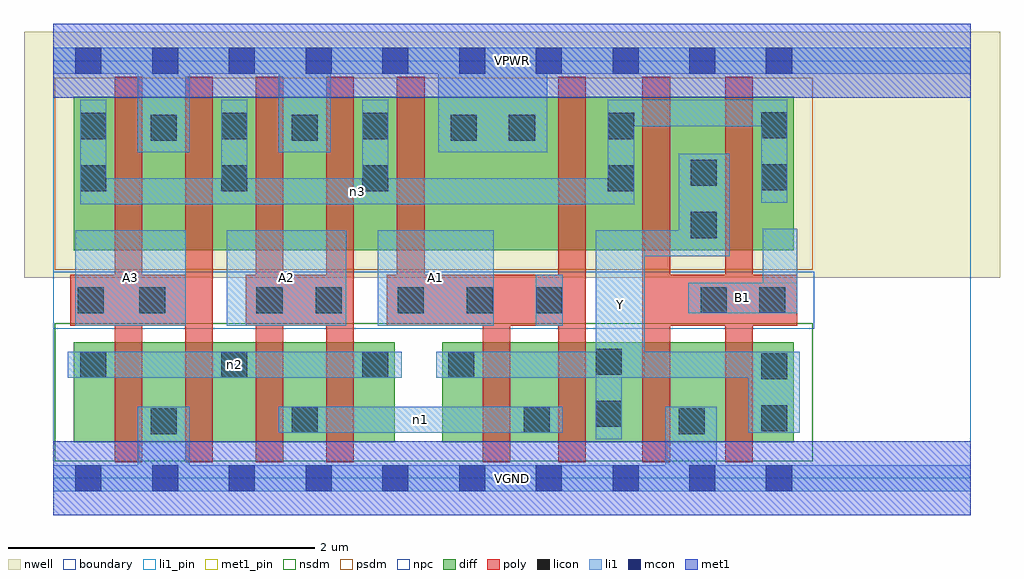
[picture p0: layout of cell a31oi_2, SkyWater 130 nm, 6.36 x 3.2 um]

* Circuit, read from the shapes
.subckt a31oi_2 A1 A2 A3 B1 VGND VPWR Y n1 n2 n3
XM1 VGND A3 n2 VSUBS sky130_fd_pr__nfet_01v8 w=0.65 l=0.18 m=2
XM2 n1 A2 n2 VSUBS sky130_fd_pr__nfet_01v8 w=0.65 l=0.18 m=2
XM3 n1 A1 Y VSUBS sky130_fd_pr__nfet_01v8 w=0.65 l=0.18 m=2
XM4 VGND B1 Y VSUBS sky130_fd_pr__nfet_01v8 w=0.65 l=0.18 m=2
XM5 VPWR A3 n3 n4 sky130_fd_pr__pfet_01v8 w=1 l=0.18 m=2
XM6 VPWR A2 n3 n4 sky130_fd_pr__pfet_01v8 w=1 l=0.18 m=2
XM7 VPWR A1 n3 n4 sky130_fd_pr__pfet_01v8 w=1 l=0.18 m=2
XM8 Y B1 n3 n4 sky130_fd_pr__pfet_01v8 w=1 l=0.18 m=2
.ends

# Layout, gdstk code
import gdstk
lib = gdstk.Library(unit=1e-6, precision=1e-09)
def R(c, l, rs):  # rectangles x0, y0, x1, y1
    for r in rs: c.add(gdstk.rectangle(r[:2], r[2:], *l))
def A(c, l, x, y, w, h, nx, ny, dx, dy):  # array of equal rectangles
    R(c, l, [(x+i*dx, y+j*dy, x+i*dx+w, y+j*dy+h) for i in range(nx) for j in range(ny)])
nwell = (64, 20)
diff = (65, 20)
poly = (66, 20)
licon = (66, 44)
li1_pin = (67, 16)
li1 = (67, 20)
mcon = (67, 44)
met1_pin = (68, 16)
met1 = (68, 20)
nsdm = (93, 44)
psdm = (94, 20)
npc = (95, 20)
boundary = (235, 4)

a31oi_2 = lib.new_cell('a31oi_2')
R(a31oi_2, nwell, [(-0.19,1.305,6.17,2.91), (0,1.305,5.98,2.91)])
R(a31oi_2, diff, [(0.135,0.235,2.225,0.885), (2.535,0.235,4.825,0.885), (0.135,1.485,4.825,2.485)])
A(a31oi_2, poly, 0.4, 0.105, 0.18, 2.51, 4, 1, 0.46, 0)
R(a31oi_2, poly, [(2.8,0.105,2.98,1.325), (3.29,0.105,3.47,2.615), (3.84,0.105,4.02,2.615), (4.38,0.105,4.56,2.615), (0.11,0.995,1.04,1.325), (1.255,0.995,1.96,1.325), (2.175,0.995,3.47,1.325), (2.24,0.995,2.42,2.615), (3.84,0.995,4.85,1.325)])
A(a31oi_2, licon, 0.175, 0.655, 0.17, 0.17, 3, 2, 0.92, 1.215)
A(a31oi_2, licon, 2.245, 1.075, 0.17, 0.17, 3, 1, 0.45, 0)
A(a31oi_2, licon, 0.175, 2.21, 0.17, 0.17, 3, 1, 0.92, 0)
R(a31oi_2, licon, [(0.635,0.285,0.805,0.455), (4.075,0.285,4.245,0.455), (1.555,0.295,1.725,0.465), (3.065,0.295,3.235,0.465), (4.615,0.305,4.785,0.475), (3.535,0.335,3.705,0.505), (4.615,0.645,4.785,0.815), (2.575,0.655,2.745,0.825), (3.535,0.675,3.705,0.845), (0.16,1.075,0.33,1.245), (0.56,1.075,0.73,1.245), (1.325,1.075,1.495,1.245), (1.71,1.075,1.88,1.245), (4.22,1.075,4.39,1.245), (4.6,1.075,4.77,1.245), (4.155,1.565,4.325,1.735), (3.615,1.87,3.785,2.04), (4.615,1.875,4.785,2.045), (4.155,1.905,4.325,2.075), (0.635,2.2,0.805,2.37), (1.555,2.2,1.725,2.37), (2.59,2.2,2.76,2.37), (2.97,2.2,3.14,2.37), (3.615,2.21,3.785,2.38), (4.615,2.215,4.785,2.385)])
R(a31oi_2, li1_pin, [(3.535,0.655,3.855,1.615), (0.145,0.995,0.865,1.615), (1.13,0.995,1.91,1.615), (2.115,0.995,2.87,1.615), (4.14,1.075,4.85,1.275)])
A(a31oi_2, li1, 0.175, 1.785, 0.17, 0.68, 3, 1, 0.92, 0)
R(a31oi_2, li1, [(0,-0.085,5.98,0.085), (0.55,-0.085,0.89,0.465), (3.99,-0.085,4.325,0.465), (3.535,0.255,3.705,1.615), (1.47,0.295,3.32,0.465), (4.53,0.295,4.865,0.825), (0.095,0.655,2.27,0.825), (2.495,0.655,4.865,0.825), (3.535,0.655,3.855,1.615), (0.145,0.995,0.865,1.615), (1.13,0.995,1.91,1.615), (2.115,0.995,2.87,1.615), (3.145,0.995,3.32,1.325), (4.14,1.075,4.85,1.275), (4.625,1.075,4.85,1.625), (3.535,1.445,4.41,1.615), (4.075,1.445,4.41,2.115), (0.175,1.785,3.785,1.955), (3.615,1.785,3.785,2.465), (4.615,1.795,4.785,2.465), (0.55,2.125,0.89,2.805), (1.47,2.125,1.81,2.805), (2.51,2.125,3.22,2.805), (3.615,2.295,4.785,2.465), (0,2.635,5.98,2.805)])
A(a31oi_2, mcon, 0.145, -0.085, 0.17, 0.17, 10, 2, 0.5, 2.72)
R(a31oi_2, met1_pin, [(0,-0.24,5.98,0.24), (0,2.48,5.98,2.96)])
R(a31oi_2, met1, [(0,-0.24,5.98,0.24), (0,2.48,5.98,2.96)])
R(a31oi_2, nsdm, [(0.01,0.11,4.95,1.01)])
R(a31oi_2, psdm, [(0.01,1.36,4.95,2.61)])
R(a31oi_2, npc, [(0,0.975,4.96,1.345)])
R(a31oi_2, boundary, [(0,0,5.98,2.72)])
a31oi_2.add(gdstk.Label('A1', (2.492,1.305), layer=67, texttype=5))
a31oi_2.add(gdstk.Label('A2', (1.52,1.305), layer=67, texttype=5))
a31oi_2.add(gdstk.Label('A3', (0.505,1.305), layer=67, texttype=5))
a31oi_2.add(gdstk.Label('B1', (4.495,1.175), layer=67, texttype=5))
a31oi_2.add(gdstk.Label('Y', (3.695,1.135), layer=67, texttype=5))
a31oi_2.add(gdstk.Label('n1', (2.395,0.38), layer=67, texttype=5))
a31oi_2.add(gdstk.Label('n2', (1.182,0.74), layer=67, texttype=5))
a31oi_2.add(gdstk.Label('n3', (1.98,1.87), layer=67, texttype=5))
a31oi_2.add(gdstk.Label('VPWR', (2.99,2.72), layer=68, texttype=5))
a31oi_2.add(gdstk.Label('VGND', (2.99,0), layer=68, texttype=5))
a31oi_2.add(gdstk.Label('A1', (2.492,1.305), layer=67, texttype=16))
a31oi_2.add(gdstk.Label('A2', (1.52,1.305), layer=67, texttype=16))
a31oi_2.add(gdstk.Label('A3', (0.505,1.305), layer=67, texttype=16))
a31oi_2.add(gdstk.Label('B1', (4.495,1.175), layer=67, texttype=16))
a31oi_2.add(gdstk.Label('Y', (3.695,1.135), layer=67, texttype=16))
a31oi_2.add(gdstk.Label('VPWR', (2.99,2.72), layer=68, texttype=16))
a31oi_2.add(gdstk.Label('VGND', (2.99,0), layer=68, texttype=16))

lib.write_gds('a31oi_2.gds')
